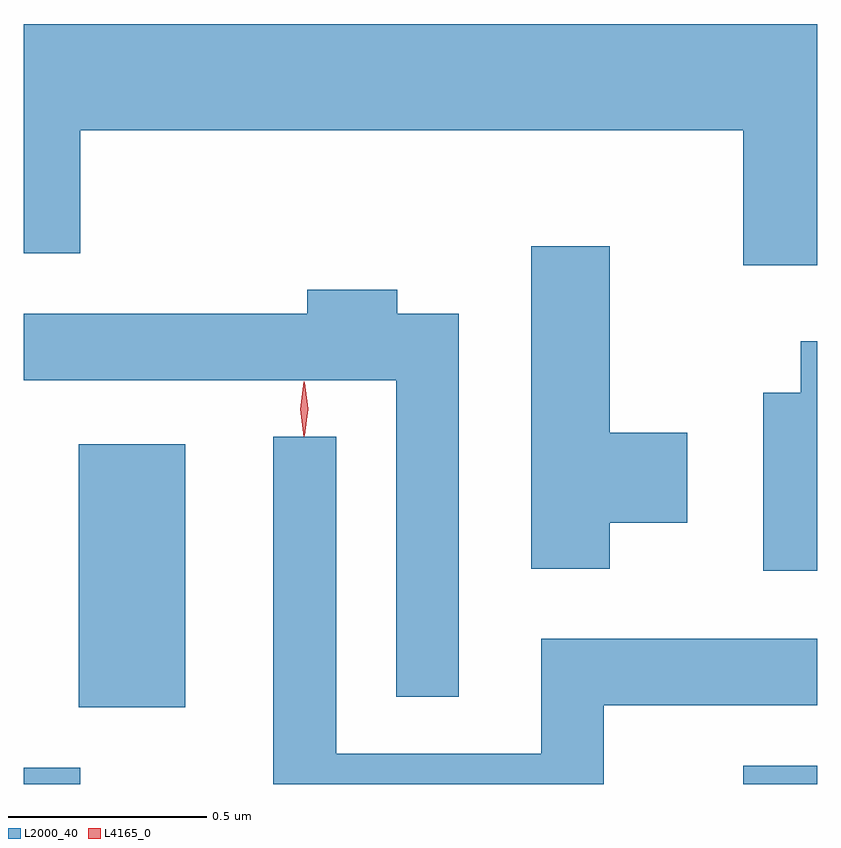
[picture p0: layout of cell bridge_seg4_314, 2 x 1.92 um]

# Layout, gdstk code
import gdstk
lib = gdstk.Library(unit=1e-6, precision=1e-09)
def R(c, l, rs):  # rectangles x0, y0, x1, y1
    for r in rs: c.add(gdstk.rectangle(r[:2], r[2:], *l))
def P(c, l, *ps):  # polygons
    for p in ps: c.add(gdstk.Polygon(p, *l))
L2000_40 = (2000, 40)
L4165_0 = (4165, 0)

bridge_seg4_314 = lib.new_cell('bridge_seg4_314')
R(bridge_seg4_314, L2000_40, [(540.357,1310.848,540.499,1310.889), (542.171,1310.848,542.357,1310.894), (540.496,1311.041,540.764,1311.704)])
P(bridge_seg4_314, L2000_40, [(542.357,1312.764),(540.357,1312.764),(540.357,1312.186),(540.499,1312.186),(540.499,1312.496),(542.171,1312.496),(542.171,1312.156),(542.357,1312.156)],
  [(541.834,1311.506),(542.029,1311.506),(542.029,1311.734),(541.834,1311.734),(541.834,1312.204),(541.636,1312.204),(541.636,1311.391),(541.834,1311.391)],
  [(541.454,1312.034),(541.299,1312.034),(541.299,1312.094),(541.071,1312.094),(541.071,1312.034),(540.357,1312.034),(540.357,1311.866),(541.296,1311.866),(541.296,1311.068),(541.454,1311.068)],
  [(542.357,1311.964),(542.316,1311.964),(542.316,1311.834),(542.221,1311.834),(542.221,1311.386),(542.357,1311.386)],
  [(541.819,1311.046),(542.357,1311.046),(542.357,1311.214),(541.661,1311.214),(541.661,1310.924),(541.144,1310.924),(541.144,1311.723),(540.986,1311.723),(540.986,1310.848),(541.819,1310.848)])
P(bridge_seg4_314, L4165_0, [(541.064,1311.727),(541.055,1311.794),(541.064,1311.86),(541.064,1311.86),(541.065,1311.86),(541.074,1311.794),(541.065,1311.727),(541.065,1311.727)],
  [(541.063,1311.724),(541.054,1311.793),(541.063,1311.862),(541.064,1311.863),(541.064,1311.862),(541.074,1311.793),(541.064,1311.724),(541.064,1311.724)])

lib.write_gds('bridge_seg4_314.gds')
